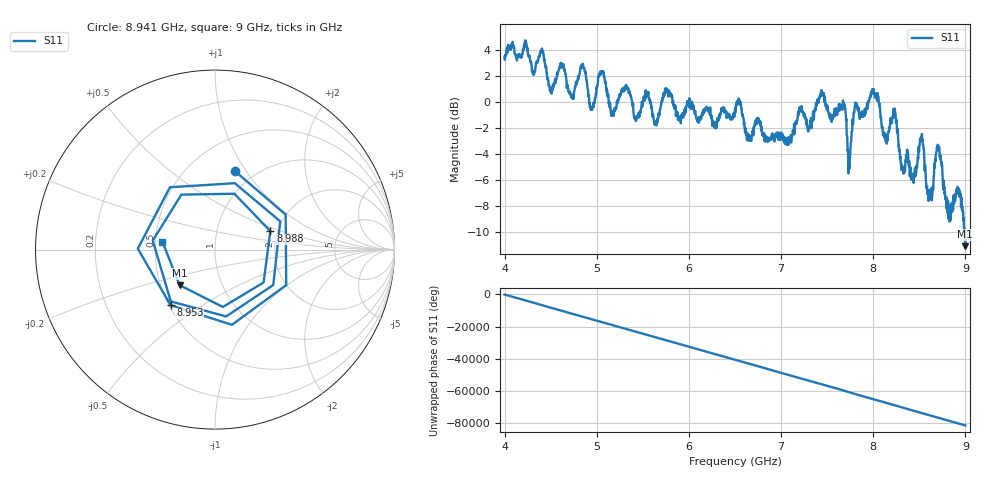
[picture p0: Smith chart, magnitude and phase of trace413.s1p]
! Created with skrf 1.8.0 (http://scikit-rf.org).
# Hz S RI R 50.0
!freq ReS11 ImS11
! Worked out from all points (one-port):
!   1601 points, 4 GHz to 9 GHz, reference 50 ohm
!   lowest |S11| = -11.1 dB at 8.997 GHz (marker M1), VSWR 1.78, Z = 31.3 - j13.4 ohm
!   |S11| at or under -10 dB: 8.994422 GHz to end of sweep
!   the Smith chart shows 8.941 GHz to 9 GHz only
!   S11 on the Smith chart (normalised r, x): 8.941 GHz: 0.81, +0.89; 8.953 GHz: 0.51, -0.38; 8.988 GHz: 1.83, +0.42; 9 GHz: 0.54, +0.05
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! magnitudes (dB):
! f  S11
! 4 GHz  3.5
! 4.406 GHz  4.1
! 4.503 GHz  0.7
! 4.625 GHz  2.7
! 4.725 GHz  0.6
! 4.853 GHz  2.8
! 4.944 GHz  -0.4
! 5.05 GHz  2.2
! 5.162 GHz  -0.7
! 5.25 GHz  0.5
! 5.875 GHz  -0.8
! 6.5 GHz  -0.6
! 7.125 GHz  -2.4
! 7.441 GHz  0.8
! 7.678 GHz  -0.1
! 7.75 GHz  -4.0
! 7.812 GHz  -0.4
! 8 GHz  0.9
! 8.375 GHz  -3.9
! 8.525 GHz  -3.0
! 8.616 GHz  -6.7
! 8.706 GHz  -3.7
! 8.812 GHz  -7.6
! 8.941 GHz  -6.9
! 8.953 GHz  -8.0
! 8.988 GHz  -9.8
! 8.997 GHz  -11.1
! 9 GHz  -10.5
